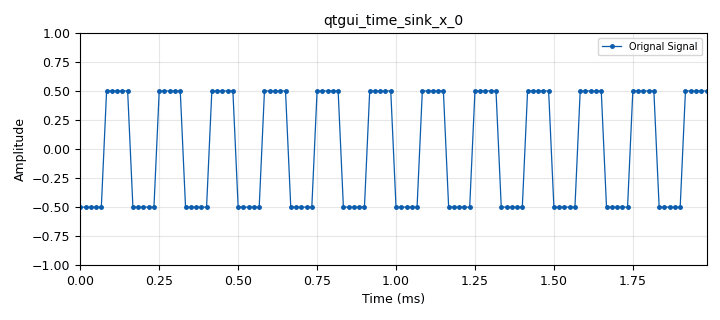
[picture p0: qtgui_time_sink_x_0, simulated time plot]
<?xml version='1.0' encoding='utf-8'?>
<?grc format='1' created='3.7.12'?>
<flow_graph>
<block>
<key>options</key>
<param><key>id</key><value>decim2_test</value></param>
<param><key>author</key><value>Michael Rahaim</value></param>
<param><key>description</key><value>Test GRC flowgraph for the decim2 function</value></param>
<param><key>generate_options</key><value>qt_gui</value></param>
<param><key>title</key><value>Test decim2 Function</value></param>
</block>
<block>
<key>variable</key>
<param><key>id</key><value>disp_points</value></param>
<param><key>value</key><value>120</value></param>
</block>
<block>
<key>variable</key>
<param><key>id</key><value>samp_rate</value></param>
<param><key>value</key><value>60000</value></param>
</block>
<block>
<key>analog_sig_source_x</key>
<param><key>id</key><value>analog_sig_source_x_0</value></param>
<param><key>amp</key><value>1</value></param>
<param><key>freq</key><value>6000</value></param>
<param><key>offset</key><value>-0.5</value></param>
<param><key>type</key><value>float</value></param>
<param><key>samp_rate</key><value>samp_rate</value></param>
<param><key>waveform</key><value>analog.GR_SQR_WAVE</value></param>
</block>
<block>
<key>blocks_throttle</key>
<param><key>id</key><value>blocks_throttle_0</value></param>
<param><key>samples_per_second</key><value>samp_rate</value></param>
<param><key>type</key><value>float</value></param>
</block>
<block>
<key>qtgui_time_sink_x</key>
<param><key>id</key><value>qtgui_time_sink_x_0</value></param>
<param><key>gui_hint</key><value>0,0,0,0</value></param>
<param><key>color1</key><value>"blue"</value></param>
<param><key>label1</key><value>Orignal Signal</value></param>
<param><key>marker1</key><value>0</value></param>
<param><key>size</key><value>disp_points</value></param>
<param><key>srate</key><value>samp_rate</value></param>
<param><key>type</key><value>float</value></param>
</block>
<block>
<key>qtgui_time_sink_x</key>
<param><key>id</key><value>qtgui_time_sink_x_0_0</value></param>
<param><key>color1</key><value>"blue"</value></param>
<param><key>label1</key><value>Decimated Signal</value></param>
<param><key>marker1</key><value>2</value></param>
<param><key>size</key><value>disp_points/2</value></param>
<param><key>srate</key><value>samp_rate/2</value></param>
<param><key>type</key><value>float</value></param>
</block>
<block>
<key>testblocks_decim2</key>
<param><key>id</key><value>testblocks_decim2_0</value></param>
</block>
<connection><source_block_id>analog_sig_source_x_0</source_block_id><sink_block_id>blocks_throttle_0</sink_block_id><source_key>0</source_key><sink_key>0</sink_key></connection>
<connection><source_block_id>analog_sig_source_x_0</source_block_id><sink_block_id>qtgui_time_sink_x_0</sink_block_id><source_key>0</source_key><sink_key>0</sink_key></connection>
<connection><source_block_id>blocks_throttle_0</source_block_id><sink_block_id>testblocks_decim2_0</sink_block_id><source_key>0</source_key><sink_key>0</sink_key></connection>
<connection><source_block_id>testblocks_decim2_0</source_block_id><sink_block_id>qtgui_time_sink_x_0_0</sink_block_id><source_key>0</source_key><sink_key>0</sink_key></connection>
</flow_graph>
